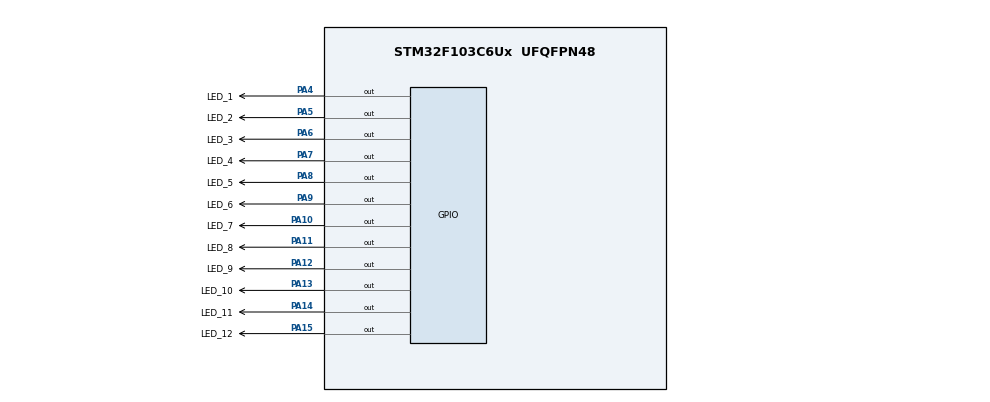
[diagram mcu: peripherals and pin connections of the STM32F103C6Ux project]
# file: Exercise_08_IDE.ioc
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Mcu.Family=STM32F1
Mcu.Name=STM32F103C6Ux
Mcu.Package=UFQFPN48
NVIC.PriorityGroup=NVIC_PRIORITYGROUP_4
PA10.GPIO_Label=LED_7
PA10.PinState=GPIO_PIN_SET
PA10.Signal=GPIO_Output
PA11.GPIO_Label=LED_8
PA11.PinState=GPIO_PIN_SET
PA11.Signal=GPIO_Output
PA12.GPIO_Label=LED_9
PA12.PinState=GPIO_PIN_SET
PA12.Signal=GPIO_Output
PA13.GPIO_Label=LED_10
PA13.PinState=GPIO_PIN_SET
PA13.Signal=GPIO_Output
PA14.GPIO_Label=LED_11
PA14.PinState=GPIO_PIN_SET
PA14.Signal=GPIO_Output
PA15.GPIO_Label=LED_12
PA15.PinState=GPIO_PIN_SET
PA15.Signal=GPIO_Output
PA4.GPIO_Label=LED_1
PA4.PinState=GPIO_PIN_SET
PA4.Signal=GPIO_Output
PA5.GPIO_Label=LED_2
PA5.PinState=GPIO_PIN_SET
PA5.Signal=GPIO_Output
PA6.GPIO_Label=LED_3
PA6.PinState=GPIO_PIN_SET
PA6.Signal=GPIO_Output
PA7.GPIO_Label=LED_4
PA7.PinState=GPIO_PIN_SET
PA7.Signal=GPIO_Output
PA8.GPIO_Label=LED_5
PA8.PinState=GPIO_PIN_SET
PA8.Signal=GPIO_Output
PA9.GPIO_Label=LED_6
PA9.PinState=GPIO_PIN_SET
PA9.Signal=GPIO_Output
ProjectManager.HeapSize=0x200
ProjectManager.StackSize=0x400
ProjectManager.TargetToolchain=STM32CubeIDE
RCC.APB1Freq_Value=8000000
RCC.APB2Freq_Value=8000000
VP_SYS_VS_ND.Mode=No_Debug
board=custom

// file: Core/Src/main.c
/* USER CODE BEGIN Header */
/**
  ******************************************************************************
  * @file           : main.c
  * @brief          : Main program body
  ******************************************************************************
  * @attention
  *
  * Copyright (c) 2026 STMicroelectronics.
  * All rights reserved.
  *
  * This software is licensed under terms that can be found in the LICENSE file
  * in the root directory of this software component.
  * If no LICENSE file comes with this software, it is provided AS-IS.
  *
  ******************************************************************************
  */
/* USER CODE END Header */
#include "main.h"

void SystemClock_Config(void);
static void MX_GPIO_Init(void);
/* USER CODE BEGIN PFP */
void setNumberOnClock(int num);

void clearAllClock();

/* USER CODE END PFP */

/* USER CODE BEGIN 0 */

void setNumberOnClock(int num)
{
    static const uint16_t ledPin[12] = {
        LED_1_Pin,
        LED_2_Pin,
        LED_3_Pin,
        LED_4_Pin,
        LED_5_Pin,
        LED_6_Pin,
        LED_7_Pin,
        LED_8_Pin,
        LED_9_Pin,
        LED_10_Pin,
        LED_11_Pin,
        LED_12_Pin
    };

    if (num < 0 || num >= 12)
    {
        return;
    }

    HAL_GPIO_WritePin(
        GPIOA,
        ledPin[num],
        GPIO_PIN_RESET
    );
}

void clearAllClock() {
	uint16_t allSegments =
			LED_1_Pin |
			LED_2_Pin |
			LED_3_Pin |
			LED_4_Pin |
			LED_5_Pin |
			LED_6_Pin |
			LED_7_Pin |
			LED_8_Pin |
			LED_9_Pin |
			LED_10_Pin |
			LED_11_Pin |
			LED_12_Pin;

	HAL_GPIO_WritePin(GPIOA, allSegments, GPIO_PIN_SET);
}

/* USER CODE END 0 */

int main(void)
{

  /* MCU Configuration--------------------------------------------------------*/

  /* Reset of all peripherals, Initializes the Flash interface and the Systick. */
  HAL_Init();

  /* Configure the system clock */
  SystemClock_Config();

  /* Initialize all configured peripherals */
  MX_GPIO_Init();

  /* Infinite loop */
  /* USER CODE BEGIN WHILE */
  while (1)
  {
	  clearAllClock();
	  HAL_Delay(500);

	  for (int i = 0; i < 12; i++) {
		  setNumberOnClock(i);
		  HAL_Delay(500);
	  }
    /* USER CODE END WHILE */

  }
}

void SystemClock_Config(void)
{
  RCC_OscInitTypeDef RCC_OscInitStruct = {0};
  RCC_ClkInitTypeDef RCC_ClkInitStruct = {0};

  /** Initializes the RCC Oscillators according to the specified parameters
  * in the RCC_OscInitTypeDef structure.
  */
  RCC_OscInitStruct.OscillatorType = RCC_OSCILLATORTYPE_HSI;
  RCC_OscInitStruct.HSIState = RCC_HSI_ON;
  RCC_OscInitStruct.HSICalibrationValue = RCC_HSICALIBRATION_DEFAULT;
  RCC_OscInitStruct.PLL.PLLState = RCC_PLL_NONE;
  if (HAL_RCC_OscConfig(&RCC_OscInitStruct) != HAL_OK)
  {
    Error_Handler();
  }

  /** Initializes the CPU, AHB and APB buses clocks
  */
  RCC_ClkInitStruct.ClockType = RCC_CLOCKTYPE_HCLK|RCC_CLOCKTYPE_SYSCLK
                              |RCC_CLOCKTYPE_PCLK1|RCC_CLOCKTYPE_PCLK2;
  RCC_ClkInitStruct.SYSCLKSource = RCC_SYSCLKSOURCE_HSI;
  RCC_ClkInitStruct.AHBCLKDivider = RCC_SYSCLK_DIV1;
  RCC_ClkInitStruct.APB1CLKDivider = RCC_HCLK_DIV1;
  RCC_ClkInitStruct.APB2CLKDivider = RCC_HCLK_DIV1;

  if (HAL_RCC_ClockConfig(&RCC_ClkInitStruct, FLASH_LATENCY_0) != HAL_OK)
  {
    Error_Handler();
  }
}

static void MX_GPIO_Init(void)
{
  GPIO_InitTypeDef GPIO_InitStruct = {0};

  /* GPIO Ports Clock Enable */
  __HAL_RCC_GPIOA_CLK_ENABLE();

  /*Configure GPIO pin Output Level */
  HAL_GPIO_WritePin(GPIOA, LED_1_Pin|LED_2_Pin|LED_3_Pin|LED_4_Pin
                          |LED_5_Pin|LED_6_Pin|LED_7_Pin|LED_8_Pin
                          |LED_9_Pin|LED_10_Pin|LED_11_Pin|LED_12_Pin, GPIO_PIN_SET);

  /*Configure GPIO pins : LED_1_Pin LED_2_Pin LED_3_Pin LED_4_Pin
                           LED_5_Pin LED_6_Pin LED_7_Pin LED_8_Pin
                           LED_9_Pin LED_10_Pin LED_11_Pin LED_12_Pin */
  GPIO_InitStruct.Pin = LED_1_Pin|LED_2_Pin|LED_3_Pin|LED_4_Pin
                          |LED_5_Pin|LED_6_Pin|LED_7_Pin|LED_8_Pin
                          |LED_9_Pin|LED_10_Pin|LED_11_Pin|LED_12_Pin;
  GPIO_InitStruct.Mode = GPIO_MODE_OUTPUT_PP;
  GPIO_InitStruct.Pull = GPIO_NOPULL;
  GPIO_InitStruct.Speed = GPIO_SPEED_FREQ_LOW;
  HAL_GPIO_Init(GPIOA, &GPIO_InitStruct);

}

void Error_Handler(void)
{
  __disable_irq();
  while (1)
  {
  }
}
